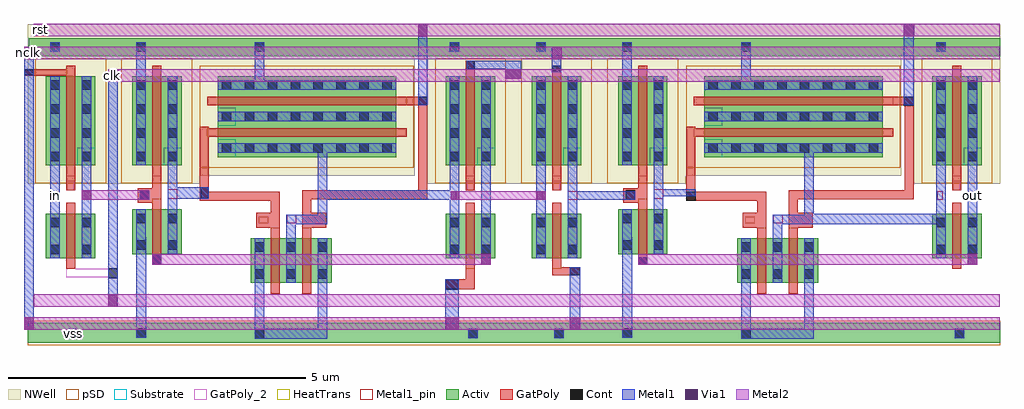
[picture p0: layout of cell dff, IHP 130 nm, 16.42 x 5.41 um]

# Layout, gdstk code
from math import pi, radians
import gdstk
lib = gdstk.Library(unit=1e-6, precision=5e-09)
def R(c, l, rs):  # rectangles x0, y0, x1, y1
    for r in rs: c.add(gdstk.rectangle(r[:2], r[2:], *l))
def A(c, l, x, y, w, h, nx, ny, dx, dy):  # array of equal rectangles
    R(c, l, [(x+i*dx, y+j*dy, x+i*dx+w, y+j*dy+h) for i in range(nx) for j in range(ny)])
Activ = (1, 0)
GatPoly = (5, 0)
GatPoly_2 = (5, 2)
Cont = (6, 0)
Metal1 = (8, 0)
Metal1_pin = (8, 2)
Metal2 = (10, 0)
pSD = (14, 0)
Via1 = (19, 0)
NWell = (31, 0)
Substrate = (40, 0)
HeatTrans = (51, 0)

nmos_5_2 = lib.new_cell('nmos$5$2')
R(nmos_5_2, Activ, [(0,0,0.3,0.3), (0,0,0.83,0.75), (0.53,0,0.83,0.3)])
R(nmos_5_2, GatPoly, [(0.34,-0.18,0.49,0.93)])
R(nmos_5_2, GatPoly_2, [(0.34,-0.18,0.49,0.93)])
R(nmos_5_2, Cont, [(0.07,0.07,0.23,0.23), (0.6,0.07,0.76,0.23), (0.07,0.52,0.23,0.68), (0.6,0.52,0.76,0.68)])
R(nmos_5_2, Metal1, [(0.07,0,0.23,0.75), (0.6,0,0.76,0.75)])
R(nmos_5_2, Metal1_pin, [(0.07,0,0.23,0.75), (0.6,0,0.76,0.75)])
R(nmos_5_2, HeatTrans, [(0.34,-0.18,0.49,0.93)])
nmos_5_2.add(gdstk.Label('nmos', (0.415,0.375), layer=63, texttype=0))
nmos_5_2.add(gdstk.Label('nmos', (0.415,0.375), layer=51, texttype=0))

pmos_5_1 = lib.new_cell('pmos$5$1')
R(pmos_5_1, Activ, [(0,0,0.3,0.3), (0,0,0.83,3), (0.53,0,0.83,0.3)])
R(pmos_5_1, GatPoly, [(0.34,-0.18,0.49,3.18), (0.34,-0.18,0.49,3.18)])
A(pmos_5_1, Cont, 0.07, 0.07, 0.16, 0.16, 1, 7, 0, 0.385)
A(pmos_5_1, Cont, 0.6, 0.07, 0.16, 0.16, 1, 7, 0, 0.385)
R(pmos_5_1, Cont, [(0.07,2.77,0.23,2.93), (0.6,2.77,0.76,2.93)])
R(pmos_5_1, Metal1, [(0.07,0,0.23,3), (0.07,0,0.23,3), (0.6,0,0.76,3), (0.6,0,0.76,3)])
R(pmos_5_1, pSD, [(-0.18,-0.3,1.01,3.3)])
R(pmos_5_1, NWell, [(-0.31,-0.31,1.14,3.31)])
R(pmos_5_1, Substrate, [(0.53,0,0.83,0.3)])
R(pmos_5_1, HeatTrans, [(0.34,-0.18,0.49,3.18)])
pmos_5_1.add(gdstk.Label('pmos', (0.415,1.5), layer=63, texttype=0))
pmos_5_1.add(gdstk.Label('pmos', (0.415,1.5), layer=51, texttype=0))

norgate_1 = lib.new_cell('norgate$1')
R(norgate_1, Activ, [(-1.47,-2.5,1.81,-2.17), (-1.35,2.325,1.935,2.625)])
R(norgate_1, GatPoly, [(-0.525,-0.56,-0.125,-0.31), (-0.275,-0.56,-0.125,-0.11), (0.255,-0.56,0.405,0.065), (0.255,-0.56,0.655,-0.31), (-1.47,-0.11,-0.125,0.04), (0.255,-0.085,2.355,0.065), (2.205,-0.085,2.355,1.645), (-1.47,0.04,-1.32,1.135), (-1.47,0.965,-1.35,1.135), (2.01,1.495,2.355,1.645)])
R(norgate_1, GatPoly_2, [(0.47,-0.49,0.6,-0.37), (-0.48,-0.485,-0.325,-0.375)])
R(norgate_1, Cont, [(-0.545,-2.43,-0.385,-2.27), (-0.545,2.395,-0.385,2.555)])
R(norgate_1, Metal1, [(-0.545,-2.43,-0.385,-0.74), (-0.545,-2.43,0.675,-2.265), (0.515,-2.43,0.675,-0.74), (-0.015,-0.74,0.145,-0.36), (-0.015,-0.505,0.675,-0.345), (0.515,-0.49,0.675,0.695), (-0.545,1.755,-0.385,2.555)])
R(norgate_1, Metal1_pin, [(-0.545,-2.43,-0.385,-2.265), (-0.01,-0.49,0.15,-0.345), (-0.545,2.395,-0.385,2.555)])
R(norgate_1, pSD, [(-1.47,-2.54,1.81,-2.125)])
R(norgate_1, NWell, [(-1.47,2.295,2.13,2.865)])
norgate_1.add(gdstk.Reference(nmos_5_2, (0.745,-0.74), rotation=pi))
norgate_1.add(gdstk.Reference(nmos_5_2, (-0.615,-1.49)))
norgate_1.add(gdstk.Reference(pmos_5_1, (-1.17,1.985), rotation=3*pi/2))
norgate_1.add(gdstk.Reference(pmos_5_1, (-1.17,1.455), rotation=3*pi/2))
norgate_1.add(gdstk.Label('vss', (-0.485,-2.335), layer=8, texttype=2))
norgate_1.add(gdstk.Label('vdd', (-0.475,2.5), layer=8, texttype=2))
norgate_1.add(gdstk.Label('out', (0.07,-0.41), layer=8, texttype=2))
norgate_1.add(gdstk.Label('b', (-0.42,-0.435), layer=5, texttype=2))
norgate_1.add(gdstk.Label('a', (0.52,-0.44), layer=5, texttype=2))

nmos_5_1 = lib.new_cell('nmos$5$1')
R(nmos_5_1, Activ, [(0,0,0.3,0.3), (0,0,0.83,0.75), (0.53,0,0.83,0.3)])
R(nmos_5_1, GatPoly, [(0.34,-0.18,0.49,0.93)])
R(nmos_5_1, GatPoly_2, [(0.34,-0.18,0.49,0.93)])
R(nmos_5_1, Cont, [(0.07,0.07,0.23,0.23), (0.6,0.07,0.76,0.23), (0.07,0.52,0.23,0.68), (0.6,0.52,0.76,0.68)])
R(nmos_5_1, Metal1, [(0.07,0,0.23,0.75), (0.6,0,0.76,0.75)])
R(nmos_5_1, Metal1_pin, [(0.07,0,0.23,0.75), (0.6,0,0.76,0.75)])
R(nmos_5_1, HeatTrans, [(0.34,-0.18,0.49,0.93)])
nmos_5_1.add(gdstk.Label('nmos', (0.415,0.375), layer=63, texttype=0))
nmos_5_1.add(gdstk.Label('nmos', (0.415,0.375), layer=51, texttype=0))

pmos = lib.new_cell('pmos')
R(pmos, Activ, [(0,0,0.3,0.3), (0,0,0.83,1.5), (0.53,0,0.83,0.3)])
R(pmos, GatPoly, [(0.34,-0.18,0.49,1.68), (0.34,-0.18,0.49,1.68)])
A(pmos, Cont, 0.07, 0.07, 0.16, 0.16, 1, 4, 0, 0.4)
A(pmos, Cont, 0.6, 0.07, 0.16, 0.16, 1, 4, 0, 0.4)
R(pmos, Metal1, [(0.07,0,0.23,1.5), (0.07,0,0.23,1.5), (0.6,0,0.76,1.5), (0.6,0,0.76,1.5)])
R(pmos, pSD, [(-0.18,-0.3,1.01,1.8)])
R(pmos, NWell, [(-0.31,-0.31,1.14,1.81)])
R(pmos, Substrate, [(0.53,0,0.83,0.3)])
R(pmos, HeatTrans, [(0.34,-0.18,0.49,1.68)])
pmos.add(gdstk.Label('pmos', (0.415,0.75), layer=63, texttype=0))
pmos.add(gdstk.Label('pmos', (0.415,0.75), layer=51, texttype=0))

transmissiongate = lib.new_cell('transmissiongate')
R(transmissiongate, Activ, [(2.295,-2.62,3.745,-2.29), (2.315,2.205,3.745,2.505)])
R(transmissiongate, GatPoly, [(2.945,-0.055,3.095,0.185)])
R(transmissiongate, GatPoly_2, [(2.98,-0.43,3.09,-0.27), (2.96,-0.055,3.08,0.105)])
R(transmissiongate, Cont, [(2.98,-2.54,3.14,-2.38), (2.675,2.275,2.835,2.435)])
R(transmissiongate, Metal1, [(2.98,-2.54,3.14,-2.38), (2.98,-2.54,3.14,-2.38), (2.675,-0.445,2.835,-0.21), (3.205,-0.445,3.365,-0.21), (2.675,-0.21,2.835,0.365), (3.205,-0.21,3.365,0.365), (2.675,2.275,2.835,2.435)])
R(transmissiongate, Metal1_pin, [(2.98,-2.54,3.14,-2.38), (2.69,-0.21,2.785,-0.07), (3.205,-0.21,3.365,-0.07), (2.675,2.275,2.835,2.435)])
R(transmissiongate, pSD, [(2.295,-2.66,3.745,-2.245)])
R(transmissiongate, NWell, [(2.295,2.175,3.745,2.745)])
transmissiongate.add(gdstk.Reference(nmos_5_1, (2.605,-1.195)))
transmissiongate.add(gdstk.Reference(pmos, (2.605,0.365)))
transmissiongate.add(gdstk.Label('vdd', (2.745,2.38), layer=8, texttype=2))
transmissiongate.add(gdstk.Label('vss', (3.055,-2.46), layer=8, texttype=2))
transmissiongate.add(gdstk.Label('out', (3.285,-0.14), layer=8, texttype=2))
transmissiongate.add(gdstk.Label('in', (2.73,-0.14), layer=8, texttype=2))
transmissiongate.add(gdstk.Label('en', (3.015,-0.355), layer=5, texttype=2))
transmissiongate.add(gdstk.Label('noten', (3.025,0.02), layer=5, texttype=2))

nmos = lib.new_cell('nmos')
R(nmos, Activ, [(0,0,0.3,0.3), (0,0,0.83,0.75), (0.53,0,0.83,0.3)])
R(nmos, GatPoly, [(0.34,-0.18,0.49,0.93)])
R(nmos, GatPoly_2, [(0.34,-0.18,0.49,0.93)])
R(nmos, Cont, [(0.07,0.07,0.23,0.23), (0.6,0.07,0.76,0.23), (0.07,0.52,0.23,0.68), (0.6,0.52,0.76,0.68)])
R(nmos, Metal1, [(0.07,0,0.23,0.75), (0.6,0,0.76,0.75)])
R(nmos, Metal1_pin, [(0.07,0,0.23,0.75), (0.6,0,0.76,0.75)])
R(nmos, HeatTrans, [(0.34,-0.18,0.49,0.93)])
nmos.add(gdstk.Label('nmos', (0.415,0.375), layer=63, texttype=0))
nmos.add(gdstk.Label('nmos', (0.415,0.375), layer=51, texttype=0))

pmos_1 = lib.new_cell('pmos$1')
R(pmos_1, Activ, [(0,0,0.3,0.3), (0,0,0.83,1.5), (0.53,0,0.83,0.3)])
R(pmos_1, GatPoly, [(0.34,-0.18,0.49,1.68), (0.34,-0.18,0.49,1.68)])
A(pmos_1, Cont, 0.07, 0.07, 0.16, 0.16, 1, 4, 0, 0.4)
A(pmos_1, Cont, 0.6, 0.07, 0.16, 0.16, 1, 4, 0, 0.4)
R(pmos_1, Metal1, [(0.07,0,0.23,1.5), (0.07,0,0.23,1.5), (0.6,0,0.76,1.5), (0.6,0,0.76,1.5)])
R(pmos_1, pSD, [(-0.18,-0.3,1.01,1.8)])
R(pmos_1, NWell, [(-0.31,-0.31,1.14,1.81)])
R(pmos_1, Substrate, [(0.53,0,0.83,0.3)])
R(pmos_1, HeatTrans, [(0.34,-0.18,0.49,1.68)])
pmos_1.add(gdstk.Label('pmos', (0.415,0.75), layer=63, texttype=0))
pmos_1.add(gdstk.Label('pmos', (0.415,0.75), layer=51, texttype=0))

inverter = lib.new_cell('inverter')
R(inverter, Activ, [(-0.845,-2.62,0.395,-2.29), (-0.795,2.205,0.285,2.505)])
R(inverter, GatPoly, [(-0.525,-0.265,-0.275,-0.015), (-0.275,-0.195,-0.125,0.185)])
R(inverter, GatPoly_2, [(-0.485,-0.215,-0.325,-0.055)])
R(inverter, Cont, [(-0.545,-2.535,-0.385,-2.375), (-0.545,-2.535,-0.385,-2.375), (-0.545,2.275,-0.385,2.435)])
R(inverter, Metal1, [(-0.545,-2.535,-0.38,-0.845), (-0.015,-0.375,0.145,0.365), (-0.545,1.865,-0.385,2.435)])
R(inverter, Metal1_pin, [(-0.015,-0.195,0.145,-0.035)])
R(inverter, pSD, [(-0.925,-2.66,0.525,-2.245)])
R(inverter, NWell, [(-0.925,2.175,0.525,2.745)])
inverter.add(gdstk.Reference(nmos, (-0.615,-1.125)))
inverter.add(gdstk.Reference(pmos_1, (-0.615,0.365)))
inverter.add(gdstk.Label('vss', (-0.475,-2.43), layer=8, texttype=2))
inverter.add(gdstk.Label('vdd', (-0.465,2.355), layer=8, texttype=2))
inverter.add(gdstk.Label('out', (0.06,-0.09), layer=8, texttype=2))
inverter.add(gdstk.Label('in', (-0.45,-0.11), layer=5, texttype=2))

dff = lib.new_cell('dff')
R(dff, Activ, [(-1.81,-2.62,14.55,-2.29), (-1.81,-2.62,14.55,-2.285), (-1.79,2.205,14.55,2.505)])
R(dff, GatPoly, [(5.215,-1.72,5.715,-1.55), (5.565,-1.55,5.715,-1.375), (7.015,-1.485,7.49,-1.35), (-1.87,1.875,-1.01,1.985), (5.565,2.045,5.71,2.125)])
R(dff, GatPoly_2, [(-1.16,-1.515,-0.295,-1.375)])
R(dff, Cont, [(5.215,-1.725,5.445,-1.55), (-0.455,-1.535,-0.295,-1.365), (7.315,-1.485,7.49,-1.35), (0.29,-1.305,0.44,-1.135), (8.465,-1.305,8.615,-1.18), (9.275,-0.23,9.435,-0.08), (8.255,-0.215,8.415,-0.055), (0.085,-0.21,0.24,-0.055), (1.105,-0.195,1.24,-0.005), (12.93,1.37,13.1,1.525), (4.765,1.375,4.915,1.525), (-1.87,1.88,-1.71,1.98), (-1.87,1.88,-1.71,1.97), (7.015,1.93,7.165,2.045), (5.575,1.985,5.71,2.125)])
R(dff, Metal1, [(7.05,-2.54,7.21,-2.38), (-1.87,-2.4,-1.71,2.365), (5.215,-2.4,5.445,-1.55), (7.315,-2.4,7.49,-1.35), (-0.455,-2.015,-0.295,1.985), (0.29,-1.305,0.44,-1.135), (5.825,-1.305,5.985,-1.19), (8.465,-1.305,8.615,-1.18), (14.01,-1.305,14.17,-1.115), (11.42,-0.625,13.64,-0.445), (0.08,-0.215,0.24,-0.055), (7.275,-0.215,8.415,-0.07), (3.115,-0.21,5.455,-0.055), (0.55,-0.195,1.24,-0.005), (8.725,-0.155,9.435,-0.035), (4.765,1.375,4.915,1.525), (4.765,1.375,4.915,2.745), (12.93,1.375,13.1,1.525), (12.93,1.375,13.1,2.745), (6.23,1.825,6.495,1.985), (7.01,1.93,7.165,2.365), (5.575,1.985,6.495,2.125), (-1.87,2.155,-1.71,2.365), (7.02,2.155,7.175,2.365), (-1.71,2.54,-1.48,2.75)])
R(dff, Metal1_pin, [(-1.125,-2.54,-0.965,-2.38), (0.02,-2.535,0.185,-2.375), (-1.415,-0.21,-1.27,-0.07), (14.01,-0.21,14.17,-0.07), (-0.45,1.775,-0.28,1.985), (-1.87,2.155,-1.71,2.365), (-1.43,2.275,-1.27,2.435), (-1.71,2.54,-1.48,2.75)])
R(dff, Metal2, [(-1.87,-2.4,-1.71,-2.19), (-1.71,-2.4,14.545,-2.19), (-1.71,-2.015,14.545,-1.805), (0.29,-1.305,5.985,-1.125), (8.465,-1.305,14.17,-1.13), (-0.9,-0.21,0.24,-0.055), (5.31,-0.21,6.905,-0.07), (-0.45,1.775,14.545,1.985), (-1.87,2.155,-1.71,2.365), (-1.71,2.155,14.545,2.365), (-1.71,2.54,14.545,2.75)])
R(dff, pSD, [(-1.81,-2.66,14.55,-2.245)])
R(dff, Via1, [(-1.87,-2.4,-1.71,-2.19), (5.225,-2.4,5.445,-2.19), (7.315,-2.4,7.49,-2.19), (-0.455,-2.015,-0.305,-1.81), (0.29,-1.305,0.44,-1.12), (5.825,-1.305,5.985,-1.115), (8.465,-1.305,8.615,-1.185), (14.01,-1.305,14.17,-1.115), (0.08,-0.215,0.24,-0.055), (-0.9,-0.21,-0.74,-0.07), (5.31,-0.21,5.455,-0.065), (6.745,-0.21,6.905,-0.07), (-0.45,1.78,-0.295,1.985), (6.23,1.825,6.495,1.985), (-1.87,2.155,-1.71,2.365), (-1.87,2.155,-1.71,2.365), (7.02,2.155,7.18,2.365), (4.765,2.53,4.915,2.745), (-1.71,2.54,-1.475,2.75), (12.93,2.54,13.105,2.745)])
R(dff, NWell, [(-1.81,2.205,14.55,2.745)])
dff.add(gdstk.Reference(norgate_1, (2.56,-0.12)))
dff.add(gdstk.Reference(transmissiongate, (10.805,0)))
dff.add(gdstk.Reference(inverter, (0.565,0)))
dff.add(gdstk.Reference(transmissiongate, (2.62,0)))
dff.add(gdstk.Reference(transmissiongate, (4.07,0)))
dff.add(gdstk.Reference(inverter, (8.74,0)))
dff.add(gdstk.Reference(norgate_1, (10.745,-0.12)))
dff.add(gdstk.Reference(transmissiongate, (-4.105,0)))
dff.add(gdstk.Label('rst', (-1.595,2.645), layer=8, texttype=2))
dff.add(gdstk.Label('nclk', (-1.79,2.26), layer=8, texttype=2))
dff.add(gdstk.Label('clk', (-0.375,1.88), layer=8, texttype=2))
dff.add(gdstk.Label('vdd', (-1.355,2.395), layer=8, texttype=2))
dff.add(gdstk.Label('vss', (-1.045,-2.46), layer=8, texttype=2))
dff.add(gdstk.Label('in', (-1.345,-0.14), layer=8, texttype=2))
dff.add(gdstk.Label('out', (14.09,-0.14), layer=8, texttype=2))

lib.write_gds('dff.gds')
